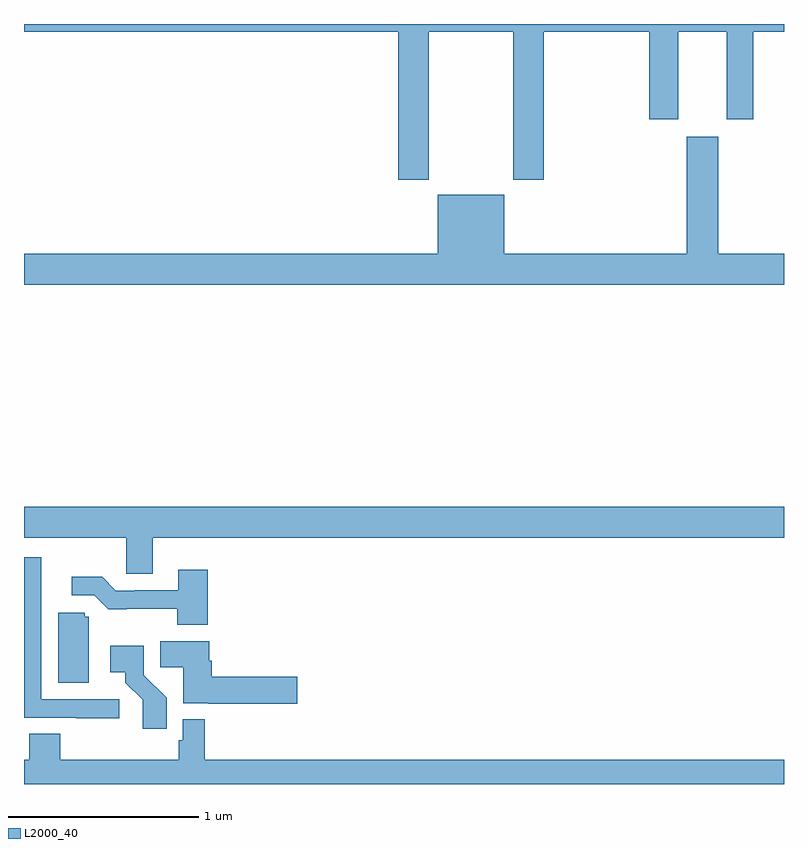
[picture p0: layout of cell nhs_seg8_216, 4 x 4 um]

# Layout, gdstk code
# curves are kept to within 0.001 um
import gdstk
lib = gdstk.Library(unit=1e-6, precision=1e-09)
def P(c, l, *ps):  # polygons
    for p in ps: c.add(gdstk.Polygon(p, *l))
L2000_40 = (2000, 40)

nhs_seg8_216 = lib.new_cell('nhs_seg8_216')
P(nhs_seg8_216, L2000_40, [(127.131,1089.86),(127.576,1089.86),(127.576,1089.081),(127.736,1089.081),(127.736,1089.86),(128.291,1089.86),(128.291,1089.399),(128.443,1089.399),(128.443,1089.86),(128.699,1089.86),(128.699,1089.399),(128.839,1089.399),(128.839,1089.86),(129,1089.86),(129,1089.9),(125,1089.9),(125,1089.86),(126.971,1089.86),(126.971,1089.081),(127.131,1089.081)],
  [(129,1088.692),(128.653,1088.692),(128.653,1089.307),(128.489,1089.307),(128.489,1088.692),(127.528,1088.692),(127.528,1089.001),(127.178,1089.001),(127.178,1088.692),(125,1088.692),(125,1088.528),(129,1088.528)],
  [(125.677,1087.196),(129,1087.196),(129,1087.36),(125,1087.36),(125,1087.196),(125.538,1087.196),(125.538,1087.006),(125.677,1087.006)],
  [(125.5,1086.345),(125.091,1086.345),(125.091,1086.87),(125.092,1086.87),(125.092,1087.093),(125,1087.093),(125,1086.249),(125.275,1086.249),(125.275,1086.247),(125.5,1086.247)],
  [(125.966,1087.027),(125.813,1087.027),(125.813,1086.921),(125.584,1086.921),(125.584,1086.918),(125.484,1086.918),(125.411,1086.991),(125.25,1086.991),(125.25,1086.894),(125.37,1086.894),(125.443,1086.821),(125.806,1086.822),(125.806,1086.737),(125.966,1086.737)],
  [(125.341,1086.78),(125.319,1086.78),(125.319,1086.801),(125.18,1086.801),(125.18,1086.432),(125.341,1086.432)],
  [(126.439,1086.464),(125.987,1086.464),(125.987,1086.548),(125.974,1086.548),(125.974,1086.652),(125.716,1086.652),(125.716,1086.514),(125.837,1086.514),(125.837,1086.326),(125.97,1086.326),(125.97,1086.322),(126.439,1086.322)],
  [(125.75,1086.354),(125.631,1086.473),(125.631,1086.628),(125.454,1086.628),(125.454,1086.488),(125.534,1086.488),(125.534,1086.433),(125.625,1086.343),(125.625,1086.192),(125.75,1086.192)],
  [(129,1086.028),(125.951,1086.028),(125.951,1086.241),(125.835,1086.241),(125.835,1086.129),(125.815,1086.129),(125.815,1086.028),(125.192,1086.028),(125.192,1086.164),(125.027,1086.164),(125.027,1086.028),(125,1086.028),(125,1085.9),(129,1085.9)])

lib.write_gds('nhs_seg8_216.gds')
